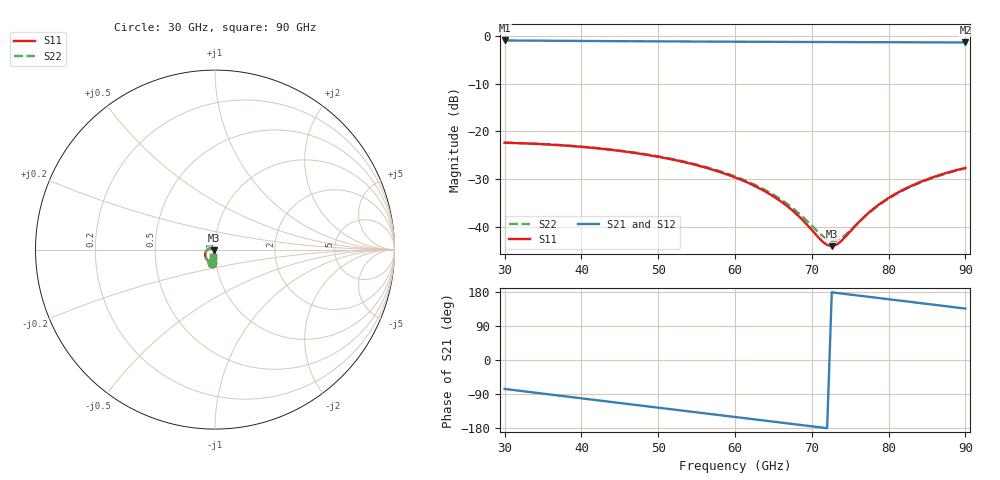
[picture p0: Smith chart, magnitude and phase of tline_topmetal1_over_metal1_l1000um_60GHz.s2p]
#  GHZ S DB R 50
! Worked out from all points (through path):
!   101 points, 30 GHz to 90 GHz, reference 50 ohm
!   highest |S21| = -0.88 dB at 30 GHz (marker M1); lowest = -1.3 dB at 90 GHz (marker M2)
!   group delay of S21, straight-line fit = 6.84 ps
!   lowest |S11| = -44.1 dB at 72.6 GHz (marker M3), VSWR 1.01, Z = 49.5 - j0.367 ohm
!   |S11| at or under -10 dB: start of sweep to end of sweep
!   |S22| runs from -43.0 to -22.3 dB; largest |S21 - S12| = 1e-14
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30  -22.37 -104.1  -0.88 -76.3  -0.88 -76.3  -22.34 -104.0
34.8  -22.66 -119.6  -0.93 -88.3  -0.93 -88.3  -22.62 -119.5
40.2  -23.26 -136.2  -0.99 -101.6  -0.99 -101.6  -23.20 -136.0
45  -24.08 -150.3  -1.03 -113.5  -1.03 -113.5  -24.01 -150.0
50.4  -25.44 -165.4  -1.08 -126.8  -1.08 -126.8  -25.34 -164.9
55.8  -27.43 -179.2  -1.12 -140.1  -1.12 -140.1  -27.29 -178.5
60  -29.64 171.4  -1.14 -150.4  -1.14 -150.4  -29.45 172.3
63  -31.79 166.2  -1.16 -157.8  -1.16 -157.8  -31.53 167.3
66  -34.71 163.7  -1.18 -165.2  -1.18 -165.2  -34.31 165.2
68.4  -37.95 166.9  -1.19 -171.1  -1.19 -171.1  -37.32 168.4
70.2  -41.06 177.3  -1.20 -175.5  -1.20 -175.5  -40.10 178.0
71.4  -43.13 -167.3  -1.21 -178.5  -1.21 -178.5  -41.93 -168.8
72  -43.84 -156.2  -1.21 -179.9  -1.21 -179.9  -42.61 -159.5
72.6  -44.09 -143.6  -1.21 178.6  -1.21 178.6  -42.97 -148.8
73.2  -43.80 -131.0  -1.22 177.1  -1.22 177.1  -42.91 -137.7
73.8  -43.07 -120.1  -1.22 175.6  -1.22 175.6  -42.45 -127.4
77.4  -37.08 -93.3  -1.24 166.8  -1.24 166.8  -37.17 -97.8
78.6  -35.51 -91.9  -1.24 163.8  -1.24 163.8  -35.63 -95.6
80.4  -33.57 -92.1  -1.25 159.4  -1.25 159.4  -33.70 -95.0
82.2  -32.00 -93.8  -1.26 154.9  -1.26 154.9  -32.12 -96.2
84.6  -30.31 -97.5  -1.28 149.0  -1.28 149.0  -30.42 -99.4
90  -27.64 -108.2  -1.30 135.7  -1.30 135.7  -27.72 -109.6
